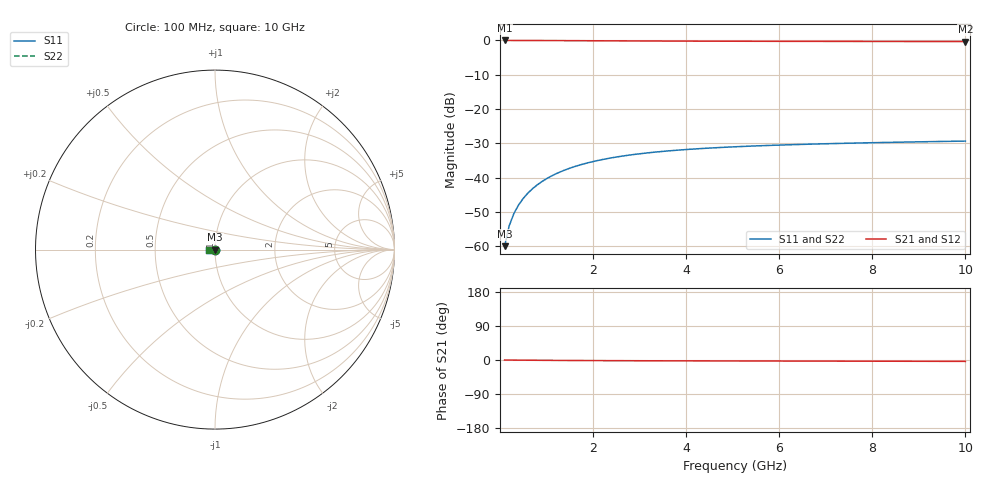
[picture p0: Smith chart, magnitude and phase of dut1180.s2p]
! Touchstone file exported from HFSS 2024.1.0
!  File:  C:/UserFiles/LocalFiles/RDL_TSV_Batchsim/temp_TSV1_1180_1780074849.aedt
!  Generated:  01:18:48 AM May 30, 2026
!  Design:  TSV1
!  Project:  temp_TSV1_1180_1780074849
!  Setup:  Setup1
!  Solution:  Sweep
! Variables:
!  dtsv = 13.07um
!  hbump = 3um
!  htsv = 52um
!  lrdl = 252.1521522um
!  p = 40
!  p1 = 56.26um
!  t = 500um
!  trdl = 3um
!  wrdl = 24.89489489um
# GHz S MA R 50.000000
! Terminal data exported
! Port[1] = TSV22_T1
! Port[2] = TSV22_T2
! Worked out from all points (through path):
!   100 points, 100 MHz to 10 GHz, reference 50 ohm
!   highest |S21| = 0.00 dB at 100 MHz (marker M1); lowest = -0.3 dB at 10 GHz (marker M2)
!   lowest |S11| = -60.0 dB at 100 MHz (marker M3), VSWR 1.00, Z = 50 - j0.1 ohm
!   |S11| at or under -10 dB: start of sweep to end of sweep
!   |S22| runs from -60.0 to -29.3 dB; largest |S21 - S12| = 1.6e-14
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0.1  0.001002 -88.1  0.9999 -0.1  0.9999 -0.1  0.001002 -88.1
! Gamma 0 0 0 0
! Port Impedance 50 0 50 0
0.2  0.002001 -91.8  0.9998 -0.2  0.9998 -0.2  0.002001 -91.8
0.3  0.002999 -94.3  0.9996 -0.3  0.9996 -0.3  0.002999 -94.3
0.4  0.003991 -96.6  0.9993 -0.4  0.9993 -0.4  0.003991 -96.6
0.5  0.004974 -98.7  0.999 -0.5  0.999 -0.5  0.004974 -98.7
0.6  0.005943 -100.8  0.9986 -0.6  0.9986 -0.6  0.005943 -100.8
0.7  0.006896 -102.8  0.9982 -0.6  0.9982 -0.6  0.006896 -102.8
0.8  0.00783 -104.8  0.9977 -0.7  0.9977 -0.7  0.00783 -104.8
0.9  0.008744 -106.7  0.9972 -0.8  0.9972 -0.8  0.008744 -106.7
1.1  0.0105 -110.4  0.9961 -1.0  0.9961 -1.0  0.0105 -110.4
1.4  0.01295 -115.7  0.9941 -1.2  0.9941 -1.2  0.01295 -115.7
1.6  0.01446 -119.0  0.9927 -1.3  0.9927 -1.3  0.01446 -119.0
1.8  0.01586 -122.1  0.9913 -1.4  0.9913 -1.4  0.01586 -122.1
2.1  0.01776 -126.6  0.9892 -1.6  0.9892 -1.6  0.01776 -126.6
2.5  0.01997 -132.0  0.9864 -1.8  0.9864 -1.8  0.01997 -132.0
2.9  0.02184 -136.8  0.9838 -1.9  0.9838 -1.9  0.02184 -136.8
3.4  0.02379 -142.2  0.981 -2.1  0.981 -2.1  0.02379 -142.2
4.2  0.02623 -149.5  0.9771 -2.3  0.9771 -2.3  0.02623 -149.5
5.1  0.02827 -156.3  0.9737 -2.5  0.9737 -2.5  0.02827 -156.3
6.7  0.03081 -166.0  0.9695 -2.9  0.9695 -2.9  0.03081 -166.0
8.4  0.0327 -174.2  0.9666 -3.3  0.9666 -3.3  0.0327 -174.2
10  0.03411 179.4  0.9647 -3.6  0.9647 -3.6  0.03411 179.4
